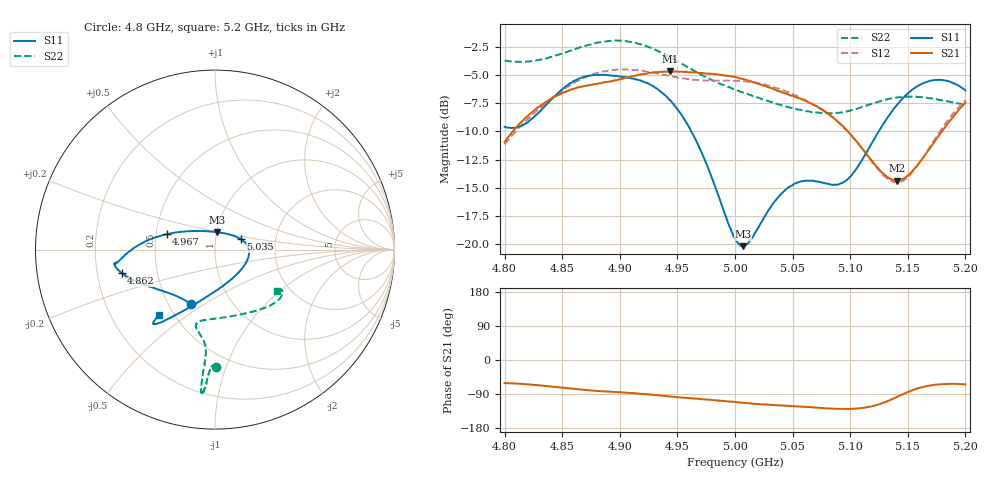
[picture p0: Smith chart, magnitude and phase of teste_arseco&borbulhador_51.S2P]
! Network Analyzer HP8722D
! Hewlett-Packard
! Data name: Linha & Wilkinson
! Saver's name: Rodrigo Anjos
! Comments: Teste da utilização de aquisição
! continua pelo VNA HP8722D
! Time and date: 15/4/2025 16:03
!  Frequency  S11  S21  S12  S22
# HZ  S  MA R 50
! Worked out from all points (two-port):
!   401 points, 4.8 GHz to 5.2 GHz, reference 50 ohm
!   highest |S21| = -4.64 dB at 4.944 GHz (marker M1); lowest = -14.4 dB at 5.141 GHz (marker M2)
!   |S21| within 3 dB of the highest: 4.832 GHz to 5.069 GHz (236.7 MHz wide, 4.78 % of centre); 5.198211 GHz to end of sweep
!   lowest |S11| = -20.2 dB at 5.007 GHz (marker M3), VSWR 1.22, Z = 50.4 + j9.82 ohm
!   |S11| at or under -10 dB: 4.962 GHz to 5.125 GHz (162.7 MHz wide, 3.23 % of centre)
!   |S22| runs from -8.4 to -1.9 dB; largest |S21 - S12| = 0.88
!   S11 on the Smith chart (normalised r, x): 4.8 GHz: 0.64, -0.44; 4.862 GHz: 0.31, -0.11; 4.967 GHz: 0.57, +0.11; 5.035 GHz: 1.33, +0.16; 5.2 GHz: 0.41, -0.39
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4.8e9  0.3316 -114.1  0.2839 -60.9  0.2771 -175.2  0.6537 -89.6
4.819e9  0.3453 -133.8  0.3662 -63.9  0.3541 -173.4  0.6485 -91.2
4.862e9  0.5363 -165.9  0.494 -76.7  0.5275 -176.5  0.7402 -93.7
4.867e9  0.55 -167.9  0.5015 -78.3  0.5432 -177.6  0.7549 -93.8
4.903e9  0.5538 -172.4  0.5443 -85.7  0.5976 175.0  0.8007 -95.4
4.934e9  0.4831 -178.3  0.5816 -93.6  0.5724 171.8  0.7184 -95.7
4.944e9  0.4344 177.3  0.5863 -96.2  0.5575 171.9  0.6769 -95.5
4.967e9  0.2826 162.3  0.5789 -102.3  0.5359 173.8  0.5795 -95.0
5e9  0.1056 106.4  0.5526 -111.0  0.5326 176.3  0.4861 -99.3
5.007e9  0.0974 82.2  0.5426 -112.7  0.5295 176.3  0.4712 -101.0
5.014e9  0.1044 60.1  0.5295 -114.9  0.5255 176.1  0.4587 -102.6
5.035e9  0.1556 22.1  0.4846 -119.1  0.496 175.0  0.4231 -103.7
5.05e9  0.1823 6.3  0.4561 -121.8  0.4639 174.5  0.4012 -100.4
5.067e9  0.1907 -12.1  0.4188 -124.8  0.4206 173.8  0.3859 -91.8
5.087e9  0.183 -44.5  0.3573 -128.7  0.3557 173.7  0.3821 -76.7
5.097e9  0.1921 -65.6  0.3202 -129.2  0.3193 174.5  0.3886 -68.4
5.134e9  0.3746 -116.5  0.1954 -106.4  0.192 -159.3  0.4424 -43.4
5.141e9  0.4174 -120.4  0.1906 -96.7  0.1876 -148.4  0.4488 -40.2
5.153e9  0.482 -125.3  0.2079 -80.6  0.2054 -130.0  0.4523 -36.0
5.17e9  0.5327 -128.9  0.2698 -66.9  0.2743 -112.9  0.4447 -32.1
5.184e9  0.5318 -130.1  0.3402 -63.2  0.3506 -107.3  0.4316 -31.1
5.2e9  0.4814 -130.6  0.4248 -64.2  0.4361 -106.2  0.4158 -33.5
